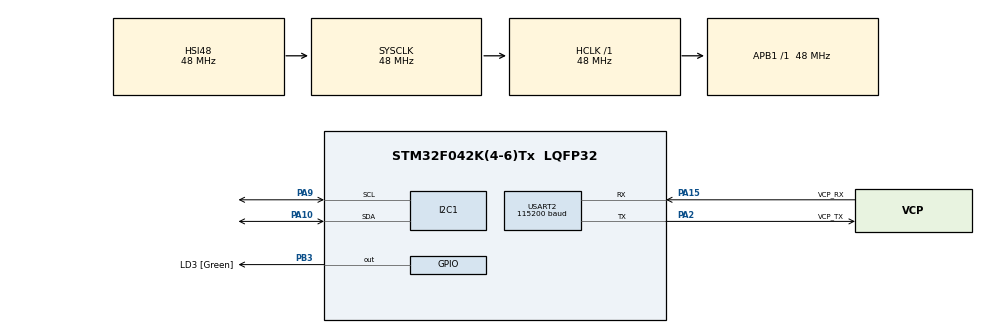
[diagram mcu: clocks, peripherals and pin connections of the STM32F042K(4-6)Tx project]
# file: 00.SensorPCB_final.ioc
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Mcu.Family=STM32F0
Mcu.Name=STM32F042K(4-6)Tx
Mcu.Package=LQFP32
NVIC.FLASH_IRQn=true\:0\:0\:false\:false\:true\:true\:true
NVIC.I2C1_IRQn=true\:0\:0\:false\:false\:true\:true\:true
NVIC.USART2_IRQn=true\:0\:0\:false\:false\:true\:true\:true
PA10.Mode=I2C
PA10.Signal=I2C1_SDA
PA13.GPIO_Label=SWDIO
PA13.Mode=Serial_Wire
PA13.Signal=SYS_SWDIO
PA14.GPIO_Label=SWCLK
PA14.Mode=Serial_Wire
PA14.Signal=SYS_SWCLK
PA15.GPIO_Label=VCP_RX
PA15.Mode=Asynchronous
PA15.Signal=USART2_RX
PA2.GPIO_Label=VCP_TX
PA2.Mode=Asynchronous
PA2.Signal=USART2_TX
PA9.Mode=I2C
PA9.Signal=I2C1_SCL
PB3.GPIO_Label=LD3 [Green]
PB3.Signal=GPIO_Output
PF0-OSC_IN.GPIO_Label=MCO
PF0-OSC_IN.Mode=HSE-External-Clock-Source
PF0-OSC_IN.Signal=RCC_OSC_IN
ProjectManager.HeapSize=0x200
ProjectManager.StackSize=0x400
ProjectManager.TargetToolchain=MDK-ARM V5
RCC.AHBFreq_Value=48000000
RCC.APB1Freq_Value=48000000
RCC.APB1TimFreq_Value=48000000
RCC.HCLKFreq_Value=48000000
RCC.SYSCLKFreq_VALUE=48000000
RCC.SYSCLKSource=RCC_SYSCLKSOURCE_HSI48
USART2.BaudRate=115200
USART2.VirtualMode-Asynchronous=VM_ASYNC
board=NUCLEO-F042K6

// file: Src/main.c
/* USER CODE BEGIN Header */
/**
  ******************************************************************************
  * @file           : main.c
  * @brief          : Main program body
  ******************************************************************************
  * @attention
  *
  * <h2><center>&copy; Copyright (c) 2019 STMicroelectronics.
  * All rights reserved.</center></h2>
  *
  * This software component is licensed by ST under BSD 3-Clause license,
  * the "License"; You may not use this file except in compliance with the
  * License. You may obtain a copy of the License at:
  *                        opensource.org/licenses/BSD-3-Clause
  *
  ******************************************************************************
  */
/* USER CODE END Header */

#include "main.h"

/* USER CODE BEGIN PM */

//@brief allowes for printf function to work with UART communication
#ifdef __GNUC__
#define PUTCHAR_PROTOTYPE int __ioputchar(int ch)
#else
#define PUTCHAR_PROTOTYPE int fputc(int ch, FILE *f)
#endif

/* USER CODE END PM */

I2C_HandleTypeDef hi2c1;

UART_HandleTypeDef huart2;

/* USER CODE BEGIN PV */
uint8_t i2cDataW[3];
uint8_t i2cDataR[2];
/* USER CODE END PV */

void SystemClock_Config(void);
static void MX_GPIO_Init(void);
static void MX_USART2_UART_Init(void);
static void MX_I2C1_Init(void);
/* USER CODE BEGIN PFP */
PUTCHAR_PROTOTYPE
{
	HAL_UART_Transmit(&huart2, (uint8_t*)&ch, 1, 0xFFFF);
	return ch;
}
/* USER CODE END PFP */

int main(void)
{

  /* MCU Configuration--------------------------------------------------------*/

  /* Reset of all peripherals, Initializes the Flash interface and the Systick. */
  HAL_Init();

  /* Configure the system clock */
  SystemClock_Config();

  /* Initialize all configured peripherals */
  MX_GPIO_Init();
  MX_USART2_UART_Init();
  MX_I2C1_Init();
  /* USER CODE BEGIN 2 */

  //Check if any device is found at address 0x88
	if(HAL_I2C_IsDeviceReady(&hi2c1, I2C_ADDRESS, I2C_NO_TRIALS, I2C_SEND_TIMEOUT) != HAL_OK)
	{
		printf("I2C Device not found at address %x\n", I2C_ADDRESS);
	}
	else
	{
		printf("I2C Communication established with device at address %x\n", I2C_ADDRESS);
	}

  /* USER CODE END 2 */

  /* Infinite loop */
  while (1)
  {

    /* USER CODE BEGIN 3 */
		HAL_GPIO_TogglePin(LD3_GPIO_Port, LD3_Pin);
		HAL_Delay(50);
  }
  /* USER CODE END 3 */
}

void SystemClock_Config(void)
{
  RCC_OscInitTypeDef RCC_OscInitStruct = {0};
  RCC_ClkInitTypeDef RCC_ClkInitStruct = {0};
  RCC_PeriphCLKInitTypeDef PeriphClkInit = {0};

  /** Initializes the CPU, AHB and APB busses clocks
  */
  RCC_OscInitStruct.OscillatorType = RCC_OSCILLATORTYPE_HSI|RCC_OSCILLATORTYPE_HSI48;
  RCC_OscInitStruct.HSIState = RCC_HSI_ON;
  RCC_OscInitStruct.HSI48State = RCC_HSI48_ON;
  RCC_OscInitStruct.HSICalibrationValue = RCC_HSICALIBRATION_DEFAULT;
  RCC_OscInitStruct.PLL.PLLState = RCC_PLL_NONE;
  if (HAL_RCC_OscConfig(&RCC_OscInitStruct) != HAL_OK)
  {
    Error_Handler();
  }
  /** Initializes the CPU, AHB and APB busses clocks
  */
  RCC_ClkInitStruct.ClockType = RCC_CLOCKTYPE_HCLK|RCC_CLOCKTYPE_SYSCLK
                              |RCC_CLOCKTYPE_PCLK1;
  RCC_ClkInitStruct.SYSCLKSource = RCC_SYSCLKSOURCE_HSI48;
  RCC_ClkInitStruct.AHBCLKDivider = RCC_SYSCLK_DIV1;
  RCC_ClkInitStruct.APB1CLKDivider = RCC_HCLK_DIV1;

  if (HAL_RCC_ClockConfig(&RCC_ClkInitStruct, FLASH_LATENCY_1) != HAL_OK)
  {
    Error_Handler();
  }
  PeriphClkInit.PeriphClockSelection = RCC_PERIPHCLK_I2C1;
  PeriphClkInit.I2c1ClockSelection = RCC_I2C1CLKSOURCE_HSI;
  if (HAL_RCCEx_PeriphCLKConfig(&PeriphClkInit) != HAL_OK)
  {
    Error_Handler();
  }
}

static void MX_I2C1_Init(void)
{

  hi2c1.Instance = I2C1;
  hi2c1.Init.Timing = 0x2000090E;
  hi2c1.Init.OwnAddress1 = 0;
  hi2c1.Init.AddressingMode = I2C_ADDRESSINGMODE_7BIT;
  hi2c1.Init.DualAddressMode = I2C_DUALADDRESS_DISABLE;
  hi2c1.Init.OwnAddress2 = 0;
  hi2c1.Init.OwnAddress2Masks = I2C_OA2_NOMASK;
  hi2c1.Init.GeneralCallMode = I2C_GENERALCALL_DISABLE;
  hi2c1.Init.NoStretchMode = I2C_NOSTRETCH_DISABLE;
  if (HAL_I2C_Init(&hi2c1) != HAL_OK)
  {
    Error_Handler();
  }
  /** Configure Analogue filter
  */
  if (HAL_I2CEx_ConfigAnalogFilter(&hi2c1, I2C_ANALOGFILTER_ENABLE) != HAL_OK)
  {
    Error_Handler();
  }
  /** Configure Digital filter
  */
  if (HAL_I2CEx_ConfigDigitalFilter(&hi2c1, 0) != HAL_OK)
  {
    Error_Handler();
  }

}

static void MX_USART2_UART_Init(void)
{

  huart2.Instance = USART2;
  huart2.Init.BaudRate = 115200;
  huart2.Init.WordLength = UART_WORDLENGTH_8B;
  huart2.Init.StopBits = UART_STOPBITS_1;
  huart2.Init.Parity = UART_PARITY_NONE;
  huart2.Init.Mode = UART_MODE_TX_RX;
  huart2.Init.HwFlowCtl = UART_HWCONTROL_NONE;
  huart2.Init.OverSampling = UART_OVERSAMPLING_16;
  huart2.Init.OneBitSampling = UART_ONE_BIT_SAMPLE_DISABLE;
  huart2.AdvancedInit.AdvFeatureInit = UART_ADVFEATURE_NO_INIT;
  if (HAL_UART_Init(&huart2) != HAL_OK)
  {
    Error_Handler();
  }

}

static void MX_GPIO_Init(void)
{
  GPIO_InitTypeDef GPIO_InitStruct = {0};

  /* GPIO Ports Clock Enable */
  __HAL_RCC_GPIOF_CLK_ENABLE();
  __HAL_RCC_GPIOA_CLK_ENABLE();
  __HAL_RCC_GPIOB_CLK_ENABLE();

  /*Configure GPIO pin Output Level */
  HAL_GPIO_WritePin(LD3_GPIO_Port, LD3_Pin, GPIO_PIN_RESET);

  /*Configure GPIO pin : LD3_Pin */
  GPIO_InitStruct.Pin = LD3_Pin;
  GPIO_InitStruct.Mode = GPIO_MODE_OUTPUT_PP;
  GPIO_InitStruct.Pull = GPIO_NOPULL;
  GPIO_InitStruct.Speed = GPIO_SPEED_FREQ_LOW;
  HAL_GPIO_Init(LD3_GPIO_Port, &GPIO_InitStruct);

}

void Error_Handler(void)
{
  /* USER CODE BEGIN Error_Handler_Debug */
  /* User can add his own implementation to report the HAL error return state */
	printf("Error Handle was triggered\n");
  /* USER CODE END Error_Handler_Debug */
}

/************************ (C) COPYRIGHT STMicroelectronics *****END OF FILE****/
